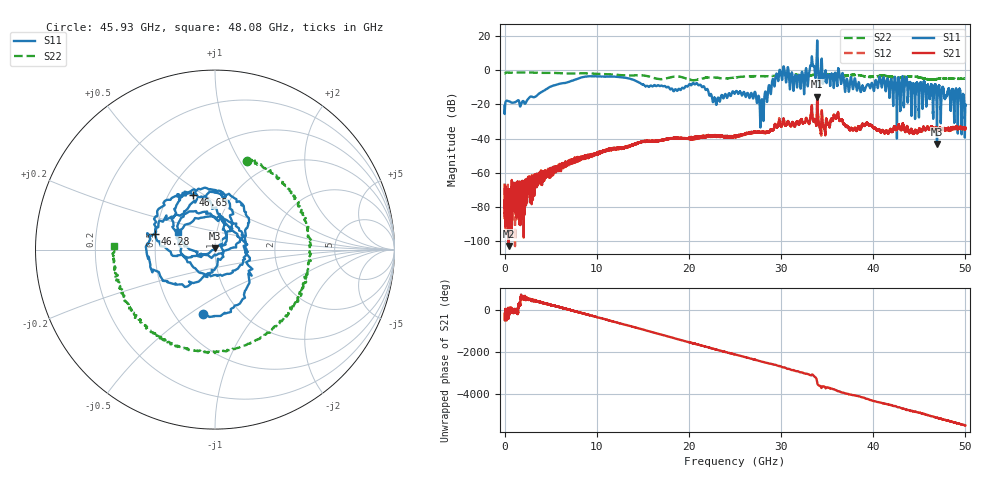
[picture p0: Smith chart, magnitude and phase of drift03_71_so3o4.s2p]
!Created with skrf (http://scikit-rf.org).
# Hz S RI R 50.0
!freq ReS11 ImS11 ReS21 ImS21 ReS12 ImS12 ReS22 ImS22
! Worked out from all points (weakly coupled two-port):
!   10001 points, 300 kHz to 50 GHz, reference 50 ohm
!   highest |S21| = -15.46 dB at 33.92 GHz (marker M1); lowest = -102.9 dB at 435.3 MHz (marker M2)
!   lowest |S11| = -43.1 dB at 46.92 GHz (marker M3), VSWR 1.01, Z = 49.9 + j0.685 ohm
!   |S11| at or under -10 dB: start of sweep to 4.849 GHz; 21.69 GHz to 28.62 GHz (6.931 GHz wide, 27.6 % of centre); 47.57 GHz to end of sweep (the widest 3 of 43)
!   |S22| runs from -5.9 to -1.3 dB; largest |S21 - S12| = 0.02
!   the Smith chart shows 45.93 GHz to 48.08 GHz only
!   S11 on the Smith chart (normalised r, x): 45.93 GHz: 0.68, -0.57; 46.28 GHz: 0.49, +0.10; 46.65 GHz: 0.66, +0.45; 48.08 GHz: 0.65, +0.13
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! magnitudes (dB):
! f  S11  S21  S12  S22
! 300 kHz  -21.0  -67.1  -68.6  -2.1
! 435.3 MHz  -18.2  -102.9  -80.0  -1.5
! 8.335 GHz  -4.3  -50.8  -51.5  -1.9
! 16.67 GHz  -8.8  -41.2  -41.3  -5.2
! 21.01 GHz  -8.7  -39.4  -39.5  -5.5
! 22.81 GHz  -16.1  -38.2  -38.2  -4.3
! 25 GHz  -13.4  -38.7  -38.8  -4.3
! 27.02 GHz  -15.8  -36.2  -36.2  -3.5
! 27.92 GHz  -17.1  -36.3  -36.6  -3.5
! 29.69 GHz  -6.4  -31.9  -31.4  -3.1
! 32.32 GHz  -1.5  -30.3  -30.6  -3.3
! 33.34 GHz  8.1  -20.6  -20.9  -2.9
! 33.92 GHz  17.4  -15.5  -15.7  -2.4
! 34.47 GHz  -1.6  -27.2  -28.4  -2.3
! 38.82 GHz  -9.2  -31.4  -31.7  -3.3
! 41.67 GHz  -9.0  -37.0  -36.6  -3.7
! 45.93 GHz  -8.7  -33.1  -33.1  -5.5
! 46.28 GHz  -9.2  -33.0  -33.7  -5.7
! 46.65 GHz  -9.7  -34.7  -34.9  -5.5
! 46.92 GHz  -43.1  -34.8  -34.0  -5.2
! 48.08 GHz  -12.8  -34.7  -34.6  -5.0
! 50 GHz  -20.5  -33.7  -34.4  -5.0
